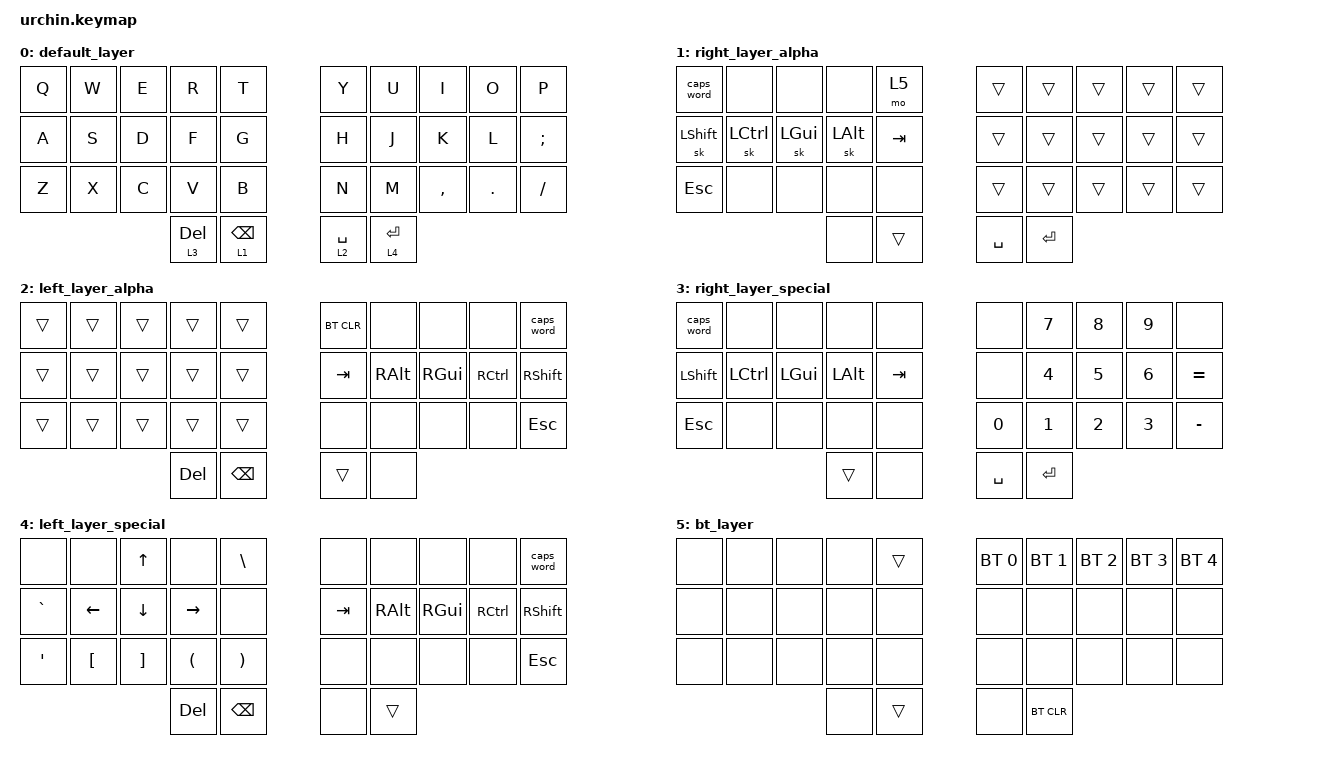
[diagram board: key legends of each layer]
// Copyright (c) 2022 The ZMK Contributors
// SPDX-License-Identifier: MIT

#include <behaviors.dtsi>
#include <dt-bindings/zmk/keys.h>
#include <dt-bindings/zmk/bt.h>

/ {
    behaviors {
        ht: hold_tap {
            label = "hold_tap";
            compatible = "zmk,behavior-hold-tap";
            #binding-cells = <2>;
            flavor = "tap-preferred";
            tapping-term-ms = <150>;
            quick-tap-ms = <100>;
            global-quick-tap;
            bindings = <&kp>, <&kp>;
        };
    };

    keymap {
        compatible = "zmk,keymap";
        default_layer { // 0
            bindings = <
        //╭──────────┬──────────┬──────────┬──────────┬──────────╮   ╭──────────┬──────────┬──────────┬──────────┬──────────╮
        //│  Q       │  W       │  E       │  R       │  T       │   │  Y       │  U       │  I       │  O       │  P       │
            &kp Q      &kp W      &kp E      &kp R      &kp T          &kp Y      &kp U      &kp I      &kp O      &kp P
        //├──────────┼──────────┼──────────┼──────────┼──────────┤   ├──────────┼──────────┼──────────┼──────────┼──────────┤
        //│  A       │  S       │  D       │  F       │  G       │   │  H       │  J       │  K       │  L       │ ' "      │
            &kp A       &kp S      &kp D      &kp F      &kp G          &kp H      &kp J      &kp K      &kp L     &kp SEMI
        //├──────────┼──────────┼──────────┼──────────┼──────────┤   ├──────────┼──────────┼──────────┼──────────┼──────────┤
        //│  Z       │  X       │  C       │  V       │  B       │   │  N       │  M       │ , <      │ . >      │ / ?      │
            &kp Z      &kp X      &kp C      &kp V      &kp B          &kp N      &kp M      &kp COMMA  &kp DOT    &kp FSLH
        //╰──────────┴──────────┴──────────┼──────────┼──────────┤   ├──────────┼──────────┼──────────┴──────────┴──────────╯
                                            &lt 3 DEL  &lt 1 BSPC    &lt 2 SPACE &lt 4 ENTER
        //                                 ╰──────────┴──────────╯   ╰──────────┴──────────╯
            >;
        };

        right_layer_alpha { // 1
            bindings = <
        //╭──────────┬──────────┬──────────┬──────────┬──────────╮   ╭──────────┬──────────┬──────────┬──────────┬──────────╮
        //│Caps Word │  XXXXXX  │  XXXXXX  │  XXXXXX  │ bt lyr   │   │          │          │          │          │          │
            &caps_word   &none      &none     &none     &mo 5          &trans     &trans     &trans     &trans     &trans
        //├──────────┼──────────┼──────────┼──────────┼──────────┤   ├──────────┼──────────┼──────────┼──────────┼──────────┤
        //│ Shift    │  Control │  GUI     │  Alt     │ Tab      │   │          │          │          │          │          │
            &sk LSHIFT  &sk LCTRL  &sk LGUI   &sk LALT  &kp TAB        &trans     &trans     &trans     &trans     &trans
        //├──────────┼──────────┼──────────┼──────────┼──────────┤   ├──────────┼──────────┼──────────┼──────────┼──────────┤
        //│ Escape   │  XXXXXX  │  XXXXXX  │  XXXXXX  │ XXXXXX   │   │          │          │          │          │          │
            &kp ESC     &none      &none      &none     &none          &trans     &trans     &trans     &trans     &trans
        //╰──────────┴──────────┴──────────┼──────────┼──────────┤   ├──────────┼──────────┼──────────┴──────────┴──────────╯
                                            &none      &trans         &kp SPACE  &kp ENTER
        //                                 ╰──────────┴──────────╯   ╰──────────┴──────────╯
            >;
        };

        left_layer_alpha { // 2
            bindings = <
        //╭──────────┬──────────┬──────────┬──────────┬──────────╮   ╭──────────┬──────────┬──────────┬──────────┬──────────╮
        //│          │          │          │          │          │   │ CLEAR BT |  XXXXXX  │  XXXXXX  │ XXXXXX   │ Caps Word│
            &trans     &trans     &trans     &trans     &trans        &bt BT_CLR   &none      &none     &none     &caps_word
        //├──────────┼──────────┼──────────┼──────────┼──────────┤   ├──────────┼──────────┼──────────┼──────────┼──────────┤
        //│          │          │          │          │          │   │ Tab      │  Alt     │  GUI     │ Control  │ Shift    │
            &trans     &trans     &trans     &trans     &trans         &kp TAB    &kp RALT   &kp RGUI   &kp RCTRL &kp RSHIFT
        //├──────────┼──────────┼──────────┼──────────┼──────────┤   ├──────────┼──────────┼──────────┼──────────┼──────────┤
        //│          │          │          │          │          │   │  XXXXXX  │  XXXXXX  │  XXXXXX  │ XXXXXX   │ Escape   │
            &trans     &trans     &trans     &trans     &trans          &none      &none      &none     &none      &kp ESC
        //╰──────────┴──────────┴──────────┼──────────┼──────────┤   ├──────────┼──────────┼──────────┴──────────┴──────────╯
                                             &kp DEL    &kp BSPC         &trans     &none
        //                                 ╰──────────┴──────────╯   ╰──────────┴──────────╯
            >;
        };

        right_layer_special { // 3
            bindings = <
        //╭──────────┬──────────┬──────────┬──────────┬──────────╮   ╭──────────┬──────────┬──────────┬──────────┬──────────╮
        //│Caps Word │  XXXXXX  │  XXXXXX  │  XXXXXX  │ XXXXXX   │   │ XXXXXX   │ 7        │ 8        │ 9        │ XXXXXX   │
           &caps_word   &none      &none      &none      &none          &none      &kp N7     &kp N8     &kp N9     &none
        //├──────────┼──────────┼──────────┼──────────┼──────────┤   ├──────────┼──────────┼──────────┼──────────┼──────────┤
        //│ Shift    │  Control │  GUI     │  Alt     │ Tab      │   │ XXXXXX   │ 4        │ 5        │ 6        │ Equals   │
           &kp LSHIFT  &kp LCTRL  &kp LGUI   &kp LALT   &kp TAB        &none      &kp N4     &kp N5     &kp N6     &kp EQUAL
        //├──────────┼──────────┼──────────┼──────────┼──────────┤   ├──────────┼──────────┼──────────┼──────────┼──────────┤
        //│ Escape   │  XXXXXX  │  XXXXXX  │  XXXXXX  │ XXXXXX   │   │ 0        │ 1        │ 2        │ 3        │ Minus    │
            &kp ESC     &none      &none      &none     &none          &kp N0     &kp N1     &kp N2     &kp N3     &kp MINUS
        //╰──────────┴──────────┴──────────┼──────────┼──────────┤   ├──────────┼──────────┼──────────┴──────────┴──────────╯
                                             &trans     &none         &kp SPACE  &kp ENTER
        //                                 ╰──────────┴──────────╯   ╰──────────┴──────────╯
            >;
        };

        left_layer_special { // 4
            bindings = <
        //╭──────────┬──────────┬──────────┬──────────┬──────────╮   ╭──────────┬──────────┬──────────┬──────────┬──────────╮
        //│ XXXXXX   │ XXXXXX   │  Up      │ XXXXXX   │ Backslsh │   │  XXXXXX  │  XXXXXX  │  XXXXXX  │ XXXXXX   │ Caps Word│
            &none      &none       &kp UP     &none      &kp BSLH        &none      &none      &none     &none     &caps_word
        //├──────────┼──────────┼──────────┼──────────┼──────────┤   ├──────────┼──────────┼──────────┼──────────┼──────────┤
        //│ Grave    │ Left     │ Down     │ Right    │ XXXXXX   │   │  Tab     │  Alt     │  GUI     │ Control  │ Shift    │
            &kp GRAVE  &kp LEFT   &kp DOWN   &kp RIGHT  &none           &kp TAB    &kp RALT  &kp RGUI  &kp RCTRL  &kp RSHIFT
        //├──────────┼──────────┼──────────┼──────────┼──────────┤   ├──────────┼──────────┼──────────┼──────────┼──────────┤
        //│ Quote    │ [        │ ]       │  (       │  )        │   │  XXXXXX  │  XXXXXX  │  XXXXXX  │ XXXXXX   │ Escape   │
            &kp SQT    &kp LBKT   &kp RBKT   &kp LPAR   &kp RPAR        &none      &none      &none     &none      &kp ESC
        //╰──────────┴──────────┴──────────┼──────────┼──────────┤   ├──────────┼──────────┼──────────┴──────────┴──────────╯
                                             &kp DEL    &kp BSPC         &none     &trans
        //                                 ╰──────────┴──────────╯   ╰──────────┴──────────╯
            >;
        };

        bt_layer { // 5
            bindings = <
        //╭──────────┬──────────┬──────────┬──────────┬──────────╮   ╭──────────────┬──────────────┬──────────────┬──────────────┬──────────────╮
        //│ XXXXXX   │ XXXXXX   │ XXXXXX   │ XXXXXX   │          │   │ bt prof 0    │ bt prof 1    │ bt prof 2    │ bt prof      │ bt prof 4    │
            &none      &none      &none      &none      &trans         &bt BT_SEL 0   &bt BT_SEL 1   &bt BT_SEL 2   &bt BT_SEL 3   &bt BT_SEL 4
        //├──────────┼──────────┼──────────┼──────────┼──────────┤   ├──────────────┼──────────────┼──────────────┼──────────────┼──────────────┤
        //│ XXXXXX   │ XXXXXX   │ XXXXXX   │ XXXXXX   │ XXXXXX   │   │ XXXXXX       │ XXXXXX       │ XXXXXX       │ XXXXXX       │ XXXXXX       │
            &none      &none       &none     &none      &none          &none          &none          &none          &none          &none
        //├──────────┼──────────┼──────────┼──────────┼──────────┤   ├──────────────┼──────────────┼──────────────┼──────────────┼──────────────┤
        //│  XXXXXX  │ XXXXXX   │ XXXXXX   │ XXXXXX   │ XXXXXX   │   │ XXXXXX       │ XXXXXX       │ XXXXXX       │ XXXXXX       │ XXXXXX       │
            &none      &none       &none     &none      &none          &none          &none          &none          &none          &none
        //╰──────────┴──────────┴──────────┼──────────┼──────────┤   ├──────────────┼──────────────┼──────────────┴──────────────┴──────────────╯
                                             &none      &trans         &none          &bt BT_CLR
        //                                 ╰──────────┴──────────╯   ╰──────────────┴──────────────╯
            >;
        };
    };
};
